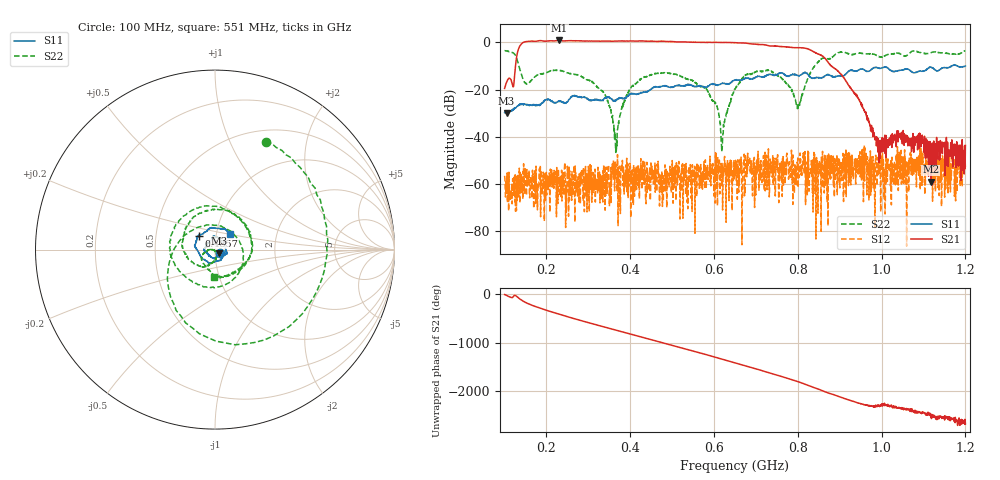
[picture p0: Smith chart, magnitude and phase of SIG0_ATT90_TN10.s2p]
# Hz S DB R 50
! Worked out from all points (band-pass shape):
!   1601 points, 100 MHz to 1.2 GHz, reference 50 ohm
!   highest |S21| = 0.83 dB at 230.6 MHz (marker M1); lowest = -59.2 dB at 1.117 GHz (marker M2)
!   |S21| within 3 dB of the highest: 134.5 MHz to 786 MHz (651.4 MHz wide, 142 % of centre); 786.323 MHz to 787.3235 MHz (1 MHz wide, 0.127 % of centre)
!   lowest |S11| = -29.9 dB at 104.8 MHz (marker M3), VSWR 1.07, Z = 52.5 - j2.11 ohm
!   |S11| at or under -10 dB: start of sweep to 1.167 GHz; 1.18037 GHz to 1.181376 GHz (1.006 MHz wide, 0.0852 % of centre); 1.181 GHz to end of sweep
!   |S22| runs from -46.7 to -3.5 dB; largest |S21 - S12| = 1.1
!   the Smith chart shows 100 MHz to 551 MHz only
!   S11 on the Smith chart (normalised r, x): 100 MHz: 1.05, -0.04; 485.7 MHz: 0.83, +0.13; 551 MHz: 1.16, +0.21
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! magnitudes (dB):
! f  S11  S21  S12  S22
! 100 MHz  -29.8  -19.5  -56.6  -3.5
! 104.8 MHz  -29.9  -16.8  -60.2  -3.6
! 142.6 MHz  -26.2  -0.2  -57.6  -15.0
! 230.6 MHz  -24.7  0.8  -59.3  -11.9
! 283.6 MHz  -23.4  0.6  -56.4  -14.4
! 339.2 MHz  -23.7  0.6  -52.3  -22.0
! 365.4 MHz  -24.7  0.5  -52.7  -46.7
! 400.4 MHz  -22.0  0.6  -53.4  -19.5
! 467.1 MHz  -18.9  0.5  -53.0  -13.2
! 485.7 MHz  -18.6  0.4  -53.9  -12.9
! 551 MHz  -18.4  0.1  -59.2  -16.4
! 603.2 MHz  -17.8  0.0  -46.8  -25.5
! 619.8 MHz  -17.3  -0.1  -59.0  -44.3
! 650 MHz  -15.9  -0.2  -52.1  -19.9
! 731.1 MHz  -13.7  -1.4  -53.6  -11.8
! 801.2 MHz  -14.1  -2.2  -57.2  -26.5
! 833.6 MHz  -15.2  -3.5  -56.6  -11.7
! 941.5 MHz  -12.1  -23.0  -49.4  -4.6
! 995.1 MHz  -11.1  -49.4  -55.4  -6.1
! 1.017 GHz  -11.3  -43.1  -54.7  -5.0
! 1.117 GHz  -10.5  -59.2  -60.4  -4.4
! 1.2 GHz  -10.0  -43.7  -52.9  -3.5
